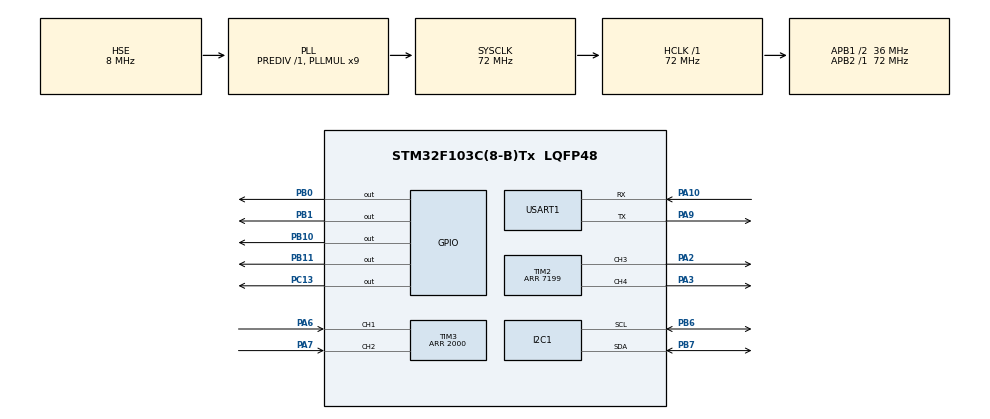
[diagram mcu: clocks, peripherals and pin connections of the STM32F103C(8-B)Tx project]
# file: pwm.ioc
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I2C1.I2C_Mode=I2C_Fast
Mcu.Family=STM32F1
Mcu.Name=STM32F103C(8-B)Tx
Mcu.Package=LQFP48
NVIC.PriorityGroup=NVIC_PRIORITYGROUP_4
NVIC.TIM1_UP_IRQn=true\:0\:0\:false\:false\:true\:true\:true
PA10.Mode=Asynchronous
PA10.Signal=USART1_RX
PA13.Mode=Serial_Wire
PA13.Signal=SYS_JTMS-SWDIO
PA14.Mode=Serial_Wire
PA14.Signal=SYS_JTCK-SWCLK
PA2.Signal=S_TIM2_CH3
PA3.Signal=S_TIM2_CH4
PA6.Signal=S_TIM3_CH1
PA7.Signal=S_TIM3_CH2
PA9.Mode=Asynchronous
PA9.Signal=USART1_TX
PB0.Signal=GPIO_Output
PB1.Signal=GPIO_Output
PB10.Signal=GPIO_Output
PB11.Signal=GPIO_Output
PB6.Mode=I2C
PB6.Signal=I2C1_SCL
PB7.Mode=I2C
PB7.Signal=I2C1_SDA
PC13-TAMPER-RTC.Signal=GPIO_Output
PD0-OSC_IN.Mode=HSE-External-Oscillator
PD0-OSC_IN.Signal=RCC_OSC_IN
PD1-OSC_OUT.Mode=HSE-External-Oscillator
PD1-OSC_OUT.Signal=RCC_OSC_OUT
ProjectManager.HeapSize=0x200
ProjectManager.StackSize=0x400
ProjectManager.TargetToolchain=STM32CubeIDE
RCC.AHBFreq_Value=72000000
RCC.APB1CLKDivider=RCC_HCLK_DIV2
RCC.APB1Freq_Value=36000000
RCC.APB1TimFreq_Value=72000000
RCC.APB2Freq_Value=72000000
RCC.APB2TimFreq_Value=72000000
RCC.HCLKFreq_Value=72000000
RCC.PLLMUL=RCC_PLL_MUL9
RCC.PLLSourceVirtual=RCC_PLLSOURCE_HSE
RCC.SYSCLKFreq_VALUE=72000000
RCC.SYSCLKSource=RCC_SYSCLKSOURCE_PLLCLK
RCC.USBFreq_Value=72000000
SH.S_TIM2_CH3.0=TIM2_CH3,PWM Generation3 CH3
SH.S_TIM2_CH4.0=TIM2_CH4,PWM Generation4 CH4
SH.S_TIM3_CH1.0=TIM3_CH1,Encoder_Interface
SH.S_TIM3_CH2.0=TIM3_CH2,Encoder_Interface
TIM1.Period=1000
TIM1.Prescaler=719
TIM2.Channel-PWM\ Generation3\ CH3=TIM_CHANNEL_3
TIM2.Channel-PWM\ Generation4\ CH4=TIM_CHANNEL_4
TIM2.OCFastMode_PWM-PWM\ Generation3\ CH3=TIM_OCFAST_ENABLE
TIM2.OCFastMode_PWM-PWM\ Generation4\ CH4=TIM_OCFAST_ENABLE
TIM2.Period=7199
TIM2.Pulse-PWM\ Generation3\ CH3=6000
TIM2.Pulse-PWM\ Generation4\ CH4=5999
TIM3.Period=2000
USART1.VirtualMode=VM_ASYNC
VP_TIM1_VS_ClockSourceINT.Mode=Internal
board=custom

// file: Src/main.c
/* USER CODE BEGIN Header */
/**
  ******************************************************************************
  * @file           : main.c
  * @brief          : Main program body
  ******************************************************************************
  * @attention
  *
  * <h2><center>&copy; Copyright (c) 2019 STMicroelectronics.
  * All rights reserved.</center></h2>
  *
  * This software component is licensed by ST under BSD 3-Clause license,
  * the "License"; You may not use this file except in compliance with the
  * License. You may obtain a copy of the License at:
  *                        opensource.org/licenses/BSD-3-Clause
  *
  ******************************************************************************
  */
/* USER CODE END Header */

#include "main.h"

/* USER CODE BEGIN Includes */
#include "mpu6050.h"
#include "PID.h"
/* USER CODE END Includes */

I2C_HandleTypeDef hi2c1;

TIM_HandleTypeDef htim1;
TIM_HandleTypeDef htim2;
TIM_HandleTypeDef htim3;

UART_HandleTypeDef huart1;

void SystemClock_Config(void);
static void MX_GPIO_Init(void);
static void MX_TIM2_Init(void);
static void MX_TIM3_Init(void);
static void MX_USART1_UART_Init(void);
static void MX_I2C1_Init(void);
static void MX_TIM1_Init(void);

/* USER CODE BEGIN 0 */

    volatile int duty = 36;
    volatile int duty_1 = 36;
    int pwm = 0;
	void PWM_Control_1(int duty){

		if(duty > 0){

		  HAL_GPIO_WritePin(GPIOB,GPIO_PIN_10,GPIO_PIN_SET);
		  HAL_GPIO_WritePin(GPIOB,GPIO_PIN_11,GPIO_PIN_RESET);

		}
		else{
		  duty = -duty;
		  HAL_GPIO_WritePin(GPIOB,GPIO_PIN_10,GPIO_PIN_RESET);
		  HAL_GPIO_WritePin(GPIOB,GPIO_PIN_11,GPIO_PIN_SET);
		}

		  __HAL_TIM_SET_COMPARE(&htim2, TIM_CHANNEL_3, duty );

	}

	void PWM_Control_2(int duty){
		if(duty > 0){
			  HAL_GPIO_WritePin(GPIOB,GPIO_PIN_1,GPIO_PIN_SET);
			  HAL_GPIO_WritePin(GPIOB,GPIO_PIN_0,GPIO_PIN_RESET);

		}
		else{
	      duty = -duty;
		  HAL_GPIO_WritePin(GPIOB,GPIO_PIN_1,GPIO_PIN_RESET);
		  HAL_GPIO_WritePin(GPIOB,GPIO_PIN_0,GPIO_PIN_SET);
		}
		__HAL_TIM_SET_COMPARE(&htim2, TIM_CHANNEL_4, duty+50);

	}

	  void HAL_TIM_PeriodElapsedCallback(TIM_HandleTypeDef *htim)
	  {
	      if (__HAL_TIM_GET_IT_SOURCE(&htim1,TIM_IT_UPDATE)) {
	    	 // pre_com_angle = com_angle; // đạo hàm, lúc trước khi lấy mẫu cái hiện tại đã thành cái mới
	    	  process_MPU();
	    	  duty = PID(-2.3,com_angle);
	      }
	  }
/* USER CODE END 0 */

int main(void)
{

  /* MCU Configuration--------------------------------------------------------*/

  /* Reset of all peripherals, Initializes the Flash interface and the Systick. */
  HAL_Init();

  /* Configure the system clock */
  SystemClock_Config();

  /* Initialize all configured peripherals */
  MX_GPIO_Init();
  MX_TIM2_Init();
  MX_TIM3_Init();
  MX_USART1_UART_Init();
  MX_I2C1_Init();
  MX_TIM1_Init();

  /* Infinite loop */
  /* USER CODE BEGIN WHILE */
  HAL_TIM_PWM_Start(&htim2,TIM_CHANNEL_3);
  HAL_TIM_PWM_Start(&htim2,TIM_CHANNEL_4);
  HAL_TIM_Base_Start_IT(&htim1);
  //HAL_TIM_Encoder_Start(&htim3,TIM_CHANNEL_1);
  //HAL_TIM_Encoder_Start(&htim3,TIM_CHANNEL_2);
 init_MPU();
  while (1)
  {
    /* USER CODE END WHILE */

    /* USER CODE BEGIN 3 */
if((com_angle>30)||(com_angle<(-30)))
		{
	PWM_Control_1(0);
	PWM_Control_2(0);
		}
else{
	  PWM_Control_1(duty);
	  PWM_Control_2(duty);
  }
  }
  /* USER CODE END 3 */
}

void SystemClock_Config(void)
{
  RCC_OscInitTypeDef RCC_OscInitStruct = {0};
  RCC_ClkInitTypeDef RCC_ClkInitStruct = {0};

  /** Initializes the CPU, AHB and APB busses clocks
  */
  RCC_OscInitStruct.OscillatorType = RCC_OSCILLATORTYPE_HSE;
  RCC_OscInitStruct.HSEState = RCC_HSE_ON;
  RCC_OscInitStruct.HSEPredivValue = RCC_HSE_PREDIV_DIV1;
  RCC_OscInitStruct.HSIState = RCC_HSI_ON;
  RCC_OscInitStruct.PLL.PLLState = RCC_PLL_ON;
  RCC_OscInitStruct.PLL.PLLSource = RCC_PLLSOURCE_HSE;
  RCC_OscInitStruct.PLL.PLLMUL = RCC_PLL_MUL9;
  if (HAL_RCC_OscConfig(&RCC_OscInitStruct) != HAL_OK)
  {
    Error_Handler();
  }
  /** Initializes the CPU, AHB and APB busses clocks
  */
  RCC_ClkInitStruct.ClockType = RCC_CLOCKTYPE_HCLK|RCC_CLOCKTYPE_SYSCLK
                              |RCC_CLOCKTYPE_PCLK1|RCC_CLOCKTYPE_PCLK2;
  RCC_ClkInitStruct.SYSCLKSource = RCC_SYSCLKSOURCE_PLLCLK;
  RCC_ClkInitStruct.AHBCLKDivider = RCC_SYSCLK_DIV1;
  RCC_ClkInitStruct.APB1CLKDivider = RCC_HCLK_DIV2;
  RCC_ClkInitStruct.APB2CLKDivider = RCC_HCLK_DIV1;

  if (HAL_RCC_ClockConfig(&RCC_ClkInitStruct, FLASH_LATENCY_2) != HAL_OK)
  {
    Error_Handler();
  }
}

static void MX_I2C1_Init(void)
{

  hi2c1.Instance = I2C1;
  hi2c1.Init.ClockSpeed = 400000;
  hi2c1.Init.DutyCycle = I2C_DUTYCYCLE_2;
  hi2c1.Init.OwnAddress1 = 0;
  hi2c1.Init.AddressingMode = I2C_ADDRESSINGMODE_7BIT;
  hi2c1.Init.DualAddressMode = I2C_DUALADDRESS_DISABLE;
  hi2c1.Init.OwnAddress2 = 0;
  hi2c1.Init.GeneralCallMode = I2C_GENERALCALL_DISABLE;
  hi2c1.Init.NoStretchMode = I2C_NOSTRETCH_DISABLE;
  if (HAL_I2C_Init(&hi2c1) != HAL_OK)
  {
    Error_Handler();
  }

}

static void MX_TIM1_Init(void)
{

  TIM_ClockConfigTypeDef sClockSourceConfig = {0};
  TIM_MasterConfigTypeDef sMasterConfig = {0};

  htim1.Instance = TIM1;
  htim1.Init.Prescaler = 719;
  htim1.Init.CounterMode = TIM_COUNTERMODE_UP;
  htim1.Init.Period = 1000;
  htim1.Init.ClockDivision = TIM_CLOCKDIVISION_DIV1;
  htim1.Init.RepetitionCounter = 0;
  htim1.Init.AutoReloadPreload = TIM_AUTORELOAD_PRELOAD_DISABLE;
  if (HAL_TIM_Base_Init(&htim1) != HAL_OK)
  {
    Error_Handler();
  }
  sClockSourceConfig.ClockSource = TIM_CLOCKSOURCE_INTERNAL;
  if (HAL_TIM_ConfigClockSource(&htim1, &sClockSourceConfig) != HAL_OK)
  {
    Error_Handler();
  }
  sMasterConfig.MasterOutputTrigger = TIM_TRGO_RESET;
  sMasterConfig.MasterSlaveMode = TIM_MASTERSLAVEMODE_DISABLE;
  if (HAL_TIMEx_MasterConfigSynchronization(&htim1, &sMasterConfig) != HAL_OK)
  {
    Error_Handler();
  }

}

static void MX_TIM2_Init(void)
{

  TIM_MasterConfigTypeDef sMasterConfig = {0};
  TIM_OC_InitTypeDef sConfigOC = {0};

  htim2.Instance = TIM2;
  htim2.Init.Prescaler = 0;
  htim2.Init.CounterMode = TIM_COUNTERMODE_UP;
  htim2.Init.Period = 1250;
  htim2.Init.ClockDivision = TIM_CLOCKDIVISION_DIV1;
  htim2.Init.AutoReloadPreload = TIM_AUTORELOAD_PRELOAD_DISABLE;
  if (HAL_TIM_PWM_Init(&htim2) != HAL_OK)
  {
    Error_Handler();
  }
  sMasterConfig.MasterOutputTrigger = TIM_TRGO_RESET;
  sMasterConfig.MasterSlaveMode = TIM_MASTERSLAVEMODE_DISABLE;
  if (HAL_TIMEx_MasterConfigSynchronization(&htim2, &sMasterConfig) != HAL_OK)
  {
    Error_Handler();
  }
  sConfigOC.OCMode = TIM_OCMODE_PWM1;
  sConfigOC.Pulse = 6000;
  sConfigOC.OCPolarity = TIM_OCPOLARITY_HIGH;
  sConfigOC.OCFastMode = TIM_OCFAST_ENABLE;
  if (HAL_TIM_PWM_ConfigChannel(&htim2, &sConfigOC, TIM_CHANNEL_3) != HAL_OK)
  {
    Error_Handler();
  }
  sConfigOC.Pulse = 5999;
  if (HAL_TIM_PWM_ConfigChannel(&htim2, &sConfigOC, TIM_CHANNEL_4) != HAL_OK)
  {
    Error_Handler();
  }
  HAL_TIM_MspPostInit(&htim2);

}

static void MX_TIM3_Init(void)
{

  TIM_Encoder_InitTypeDef sConfig = {0};
  TIM_MasterConfigTypeDef sMasterConfig = {0};

  htim3.Instance = TIM3;
  htim3.Init.Prescaler = 0;
  htim3.Init.CounterMode = TIM_COUNTERMODE_UP;
  htim3.Init.Period = 2000;
  htim3.Init.ClockDivision = TIM_CLOCKDIVISION_DIV1;
  htim3.Init.AutoReloadPreload = TIM_AUTORELOAD_PRELOAD_DISABLE;
  sConfig.EncoderMode = TIM_ENCODERMODE_TI1;
  sConfig.IC1Polarity = TIM_ICPOLARITY_RISING;
  sConfig.IC1Selection = TIM_ICSELECTION_DIRECTTI;
  sConfig.IC1Prescaler = TIM_ICPSC_DIV1;
  sConfig.IC1Filter = 0;
  sConfig.IC2Polarity = TIM_ICPOLARITY_RISING;
  sConfig.IC2Selection = TIM_ICSELECTION_DIRECTTI;
  sConfig.IC2Prescaler = TIM_ICPSC_DIV1;
  sConfig.IC2Filter = 0;
  if (HAL_TIM_Encoder_Init(&htim3, &sConfig) != HAL_OK)
  {
    Error_Handler();
  }
  sMasterConfig.MasterOutputTrigger = TIM_TRGO_RESET;
  sMasterConfig.MasterSlaveMode = TIM_MASTERSLAVEMODE_DISABLE;
  if (HAL_TIMEx_MasterConfigSynchronization(&htim3, &sMasterConfig) != HAL_OK)
  {
    Error_Handler();
  }

}

static void MX_USART1_UART_Init(void)
{

  huart1.Instance = USART1;
  huart1.Init.BaudRate = 115200;
  huart1.Init.WordLength = UART_WORDLENGTH_8B;
  huart1.Init.StopBits = UART_STOPBITS_1;
  huart1.Init.Parity = UART_PARITY_NONE;
  huart1.Init.Mode = UART_MODE_TX_RX;
  huart1.Init.HwFlowCtl = UART_HWCONTROL_NONE;
  huart1.Init.OverSampling = UART_OVERSAMPLING_16;
  if (HAL_UART_Init(&huart1) != HAL_OK)
  {
    Error_Handler();
  }

}

static void MX_GPIO_Init(void)
{
  GPIO_InitTypeDef GPIO_InitStruct = {0};

  /* GPIO Ports Clock Enable */
  __HAL_RCC_GPIOC_CLK_ENABLE();
  __HAL_RCC_GPIOD_CLK_ENABLE();
  __HAL_RCC_GPIOA_CLK_ENABLE();
  __HAL_RCC_GPIOB_CLK_ENABLE();

  /*Configure GPIO pin Output Level */
  HAL_GPIO_WritePin(GPIOC, GPIO_PIN_13, GPIO_PIN_RESET);

  /*Configure GPIO pin Output Level */
  HAL_GPIO_WritePin(GPIOB, GPIO_PIN_0|GPIO_PIN_1|GPIO_PIN_10|GPIO_PIN_11, GPIO_PIN_RESET);

  /*Configure GPIO pin : PC13 */
  GPIO_InitStruct.Pin = GPIO_PIN_13;
  GPIO_InitStruct.Mode = GPIO_MODE_OUTPUT_PP;
  GPIO_InitStruct.Pull = GPIO_NOPULL;
  GPIO_InitStruct.Speed = GPIO_SPEED_FREQ_LOW;
  HAL_GPIO_Init(GPIOC, &GPIO_InitStruct);

  /*Configure GPIO pins : PB0 PB1 PB10 PB11 */
  GPIO_InitStruct.Pin = GPIO_PIN_0|GPIO_PIN_1|GPIO_PIN_10|GPIO_PIN_11;
  GPIO_InitStruct.Mode = GPIO_MODE_OUTPUT_PP;
  GPIO_InitStruct.Pull = GPIO_NOPULL;
  GPIO_InitStruct.Speed = GPIO_SPEED_FREQ_LOW;
  HAL_GPIO_Init(GPIOB, &GPIO_InitStruct);

}

void Error_Handler(void)
{
}

/************************ (C) COPYRIGHT STMicroelectronics *****END OF FILE****/
